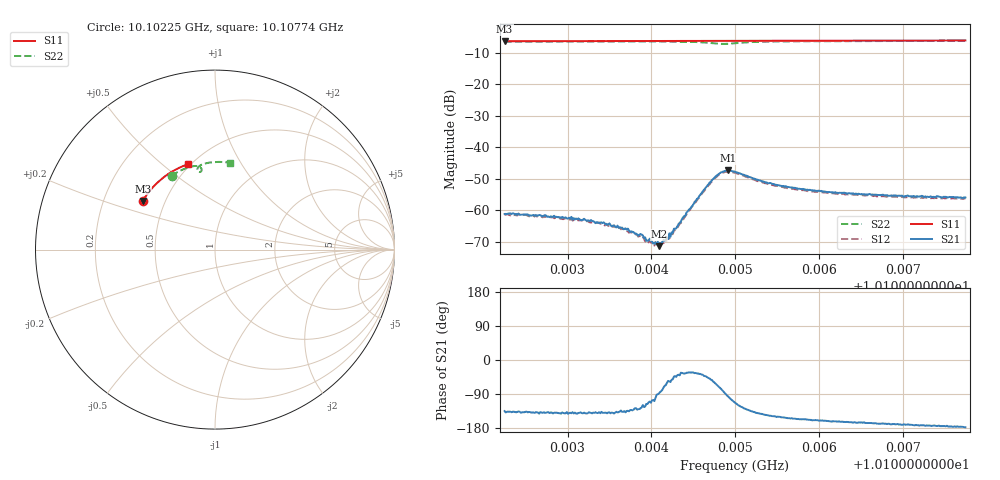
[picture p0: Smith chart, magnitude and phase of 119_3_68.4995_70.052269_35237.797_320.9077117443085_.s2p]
#  HZ  S  RI  R  50.00
! Rohde & Schwarz Vector Network Analyzer
! Rohde-Schwarz,ZNB20-2Port,1311601062101988,3.16
! Created: UTC 3/20/2024, 5:09:03 PM
! freq[Hz]  re:S11  im:S11  re:S21  im:S21  re:S12  im:S12  re:S22  im:S22
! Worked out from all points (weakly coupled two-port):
!   401 points, 10.10225 GHz to 10.10774 GHz, reference 50 ohm
!   highest |S21| = -47.37 dB at 10.10491 GHz (marker M1); lowest = -71.5 dB at 10.10409 GHz (marker M2)
!   lowest |S11| = -6.3 dB at 10.10225 GHz (marker M3), VSWR 2.89, Z = 18.7 + j13.3 ohm
!   |S11| at or under -10 dB: nowhere
!   |S22| runs from -7.1 to -6.2 dB; largest |S21 - S12| = 0.00043
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1.010225e10  -0.4031 0.2708  -0.000611 -0.000615  -0.000562 -0.000634  -0.2423 0.412
1.0102717e10  -0.3877 0.2948  -0.000604 -0.000545  -0.000544 -0.000557  -0.2162 0.4279
1.010317e10  -0.3714 0.3172  -0.000531 -0.000443  -0.000478 -0.000486  -0.1895 0.4414
1.0103431e10  -0.3616 0.3295  -0.000485 -0.000414  -0.000405 -0.000434  -0.1734 0.4487
1.0103582e10  -0.3557 0.3365  -0.000385 -0.000364  -0.000361 -0.000406  -0.1635 0.4526
1.0103705e10  -0.3507 0.3422  -0.000341 -0.000349  -0.000303 -0.000352  -0.1555 0.4555
1.0103801e10  -0.3469 0.3465  -0.000258 -0.000336  -0.000269 -0.000333  -0.149 0.4577
1.0103897e10  -0.3429 0.3508  -0.000192 -0.000345  -0.000156 -0.000326  -0.1424 0.4598
1.0103939e10  -0.3412 0.3526  -0.000143 -0.000293  -0.000142 -0.000306  -0.1393 0.4605
1.0104007e10  -0.3383 0.3556  -8.93e-05 -0.000307  -5.77e-05 -0.000299  -0.1344 0.4619
1.010409e10  -0.3347 0.3593  9.85e-06 -0.000266  3.2e-05 -0.000289  -0.1283 0.4633
1.0104145e10  -0.3325 0.3615  0.000102 -0.00032  9.96e-05 -0.000282  -0.1241 0.4643
1.0104227e10  -0.3289 0.3652  0.000199 -0.000318  0.000252 -0.000288  -0.1174 0.4653
1.0104502e10  -0.3168 0.3764  0.00104 -0.000683  0.00107 -0.000573  -0.0923 0.464
1.0104721e10  -0.3068 0.3854  0.0018 -0.0024  0.00189 -0.00215  -0.0744 0.4467
1.0104817e10  -0.3024 0.389  0.00109 -0.00373  0.00134 -0.00348  -0.0786 0.4345
1.0104913e10  -0.298 0.3927  -0.000464 -0.00426  -7.52e-05 -0.00411  -0.0913 0.4334
1.0104996e10  -0.2942 0.3958  -0.00158 -0.00376  -0.00115 -0.00374  -0.0977 0.4419
1.0105366e10  -0.2766 0.4098  -0.00225 -0.00157  -0.00205 -0.00172  -0.0776 0.4719
1.0105916e10  -0.2491 0.4286  -0.00194 -0.000732  -0.00176 -0.000889  -0.0372 0.4839
1.0106836e10  -0.2006 0.4557  -0.00165 -0.000335  -0.00154 -0.00046  0.0249 0.4885
1.0107742e10  -0.15 0.4766  -0.00158 -6.7e-05  -0.00149 -0.000257  0.0836 0.4844
